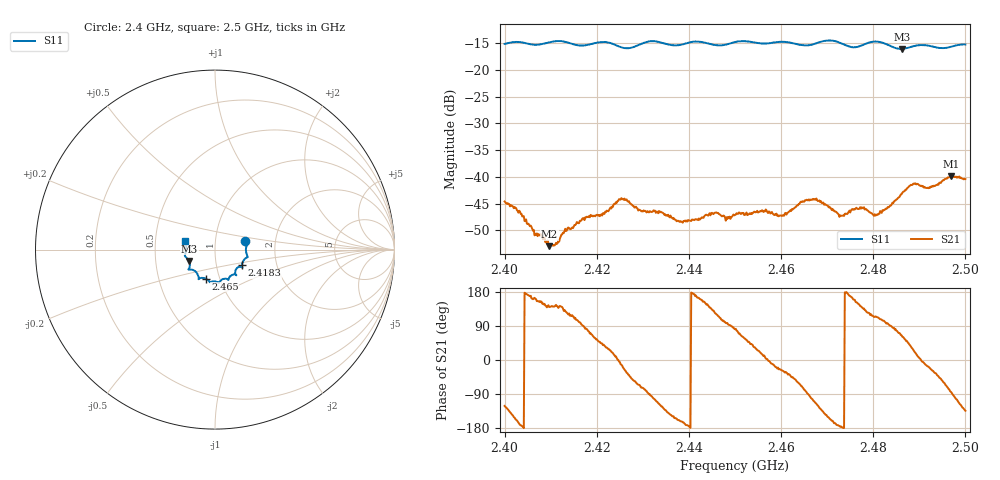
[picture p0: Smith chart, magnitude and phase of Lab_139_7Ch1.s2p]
# Hz S RI R 50
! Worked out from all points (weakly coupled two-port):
!   601 points, 2.4 GHz to 2.5 GHz, reference 50 ohm
!   highest |S21| = -39.87 dB at 2.4968 GHz (marker M1); lowest = -53.0 dB at 2.4097 GHz (marker M2)
!   lowest |S11| = -16.1 dB at 2.4862 GHz (marker M3), VSWR 1.37, Z = 37.1 - j4.84 ohm
!   |S11| at or under -10 dB: start of sweep to end of sweep
!   S12 and S22 are empty: the file has one direction only
!   S11 on the Smith chart (normalised r, x): 2.4 GHz: 1.40, +0.13; 2.4183 GHz: 1.33, -0.24; 2.465 GHz: 0.86, -0.29; 2.5 GHz: 0.71, +0.07
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2.4e9  0.1696 0.0457  -0.00305 -0.00503  0 0  0 0
2.409667e9  0.1782 -0.0327  -0.00172 0.00145  0 0  0 0
2.411e9  0.1819 -0.0389  -0.00187 0.00138  0 0  0 0
2.416667e9  0.1549 -0.0683  -0.000263 0.00391  0 0  0 0
2.418333e9  0.1497 -0.0871  0.00113 0.00415  0 0  0 0
2.421167e9  0.1528 -0.1004  0.00316 0.00299  0 0  0 0
2.4255e9  0.1297 -0.0977  0.00604 -0.00155  0 0  0 0
2.433333e9  0.1174 -0.1411  -0.00187 -0.00417  0 0  0 0
2.438333e9  0.0806 -0.1524  -0.00363 -0.00117  0 0  0 0
2.45e9  0.0257 -0.1809  0.000678 0.00436  0 0  0 0
2.460167e9  -0.0279 -0.1817  0.00384 -0.00197  0 0  0 0
2.465e9  -0.0523 -0.162  0.0012 -0.00573  0 0  0 0
2.466667e9  -0.0712 -0.1574  -0.00129 -0.00596  0 0  0 0
2.473167e9  -0.0919 -0.1514  -0.00432 -0.000202  0 0  0 0
2.4775e9  -0.1277 -0.1121  -0.00396 0.00336  0 0  0 0
2.4805e9  -0.148 -0.1108  -0.00183 0.00394  0 0  0 0
2.483333e9  -0.1411 -0.0964  -0.000348 0.00517  0 0  0 0
2.486167e9  -0.144 -0.0636  0.00292 0.00625  0 0  0 0
2.488667e9  -0.1613 -0.0427  0.00768 0.00389  0 0  0 0
2.491833e9  -0.1671 -0.0293  0.00756 -0.00232  0 0  0 0
2.496833e9  -0.1628 0.0261  0.00108 -0.0101  0 0  0 0
2.5e9  -0.1673 0.0465  -0.00662 -0.00686  0 0  0 0
